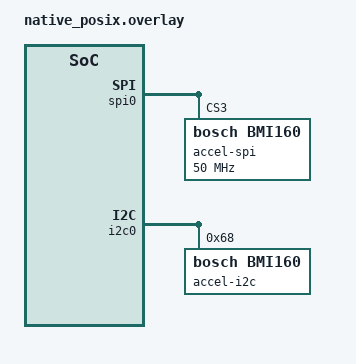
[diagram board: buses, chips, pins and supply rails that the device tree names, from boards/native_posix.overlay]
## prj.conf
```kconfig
CONFIG_ZTEST=y
```

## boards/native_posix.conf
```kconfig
# Copyright (c) 2020 Nordic Semiconductor ASA
# SPDX-License-Identifier: Apache-2.0

CONFIG_EMUL=y
CONFIG_I2C=y
CONFIG_I2C_EMUL=y
CONFIG_SPI=y
CONFIG_SPI_EMUL=y
CONFIG_BMI160=y
CONFIG_EMUL_BMI160=y
CONFIG_SENSOR=y
CONFIG_BMI160_TRIGGER_NONE=y
```

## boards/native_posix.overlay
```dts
/* Copyright (c) 2020 Nordic Semiconductor ASA
 * SPDX-License-Identifier: Apache-2.0
 */

/ {
	aliases {
		accel-0 = &bmi_spi;
		accel-1 = &bmi_i2c;
	};
};

&spi0 {
	bmi_spi: bmi@3 {
		compatible = "bosch,bmi160";
		spi-max-frequency = <50000000>;
		reg = <3>;
		label = "accel-spi";
	};
};

&i2c0 {
	bmi_i2c: bmi@68 {
		compatible = "bosch,bmi160";
		reg = <0x68>;
		label = "accel-i2c";
	};
};
```

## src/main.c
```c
/*
 * Copyright 2020 Google LLC
 *
 * SPDX-License-Identifier: Apache-2.0
 */

/**
 * @defgroup driver_sensor_subsys_tests sensor_subsys
 * @ingroup all_tests
 * @{
 * @}
 */

#include <ztest.h>
#include <drivers/sensor.h>

/* There is no obvious way to pass this to tests, so use a global */
ZTEST_BMEM static const char *accel_label;

static enum sensor_channel channel[] = {
	SENSOR_CHAN_ACCEL_X,
	SENSOR_CHAN_ACCEL_Y,
	SENSOR_CHAN_ACCEL_Z,
	SENSOR_CHAN_GYRO_X,
	SENSOR_CHAN_GYRO_Y,
	SENSOR_CHAN_GYRO_Z,
};

void test_sensor_accel_basic(void)
{
	const struct device *dev;

	dev = device_get_binding(accel_label);
	zassert_not_null(dev, "failed: dev '%s' is null", accel_label);

	zassert_equal(sensor_sample_fetch(dev), 0, "fail to fetch sample");

	for (int i = 0; i < ARRAY_SIZE(channel); i++) {
		struct sensor_value val;

		zassert_ok(sensor_channel_get(dev, channel[i], &val),
			   "fail to get channel");
		zassert_equal(i, val.val1, "expected %d, got %d", i, val.val1);
		zassert_true(val.val2 < 1000, "error %d is too large",
			     val.val2);
	}
}

/* Run all of our tests on an accelerometer device with the given label */
static void run_tests_on_accel(const char *label)
{
	const struct device *accel = device_get_binding(label);

	PRINT("Running tests on '%s'\n", label);
	zassert_not_null(accel, "Unable to get Accelerometer device");
	k_object_access_grant(accel, k_current_get());
	accel_label = label;
	ztest_test_suite(test_sensor_accel,
			 ztest_user_unit_test(test_sensor_accel_basic));
	ztest_run_test_suite(test_sensor_accel);
}

/* test case main entry */
void test_main(void)
{
	run_tests_on_accel(DT_LABEL(DT_ALIAS(accel_0)));

#if DT_NODE_EXISTS(DT_ALIAS(accel_1))
	run_tests_on_accel(DT_LABEL(DT_ALIAS(accel_1)));
#endif
}
```
